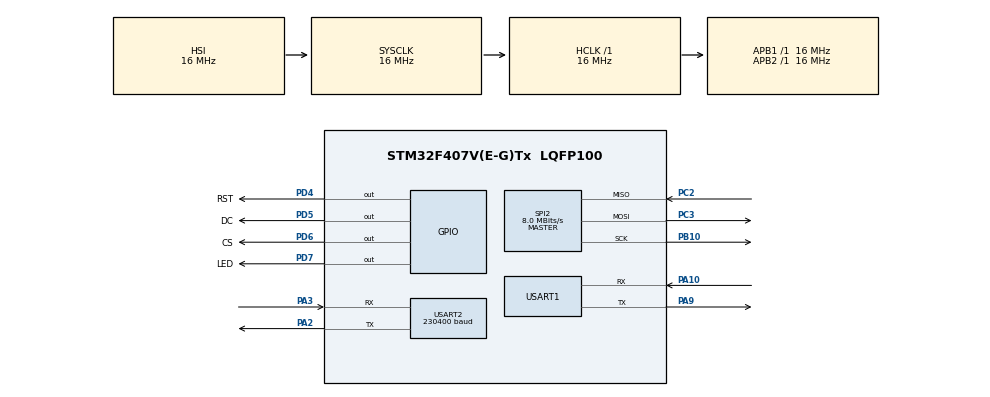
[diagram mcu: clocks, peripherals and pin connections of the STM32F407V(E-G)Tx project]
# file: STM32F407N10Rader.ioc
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Dma.Request0=USART2_RX
Dma.Request1=SPI2_TX
Dma.SPI2_TX.1.Direction=DMA_MEMORY_TO_PERIPH
Dma.SPI2_TX.1.FIFOMode=DMA_FIFOMODE_DISABLE
Dma.SPI2_TX.1.Instance=DMA1_Stream4
Dma.SPI2_TX.1.MemDataAlignment=DMA_MDATAALIGN_BYTE
Dma.SPI2_TX.1.MemInc=DMA_MINC_ENABLE
Dma.SPI2_TX.1.Mode=DMA_NORMAL
Dma.SPI2_TX.1.PeriphDataAlignment=DMA_PDATAALIGN_BYTE
Dma.SPI2_TX.1.PeriphInc=DMA_PINC_DISABLE
Dma.SPI2_TX.1.Priority=DMA_PRIORITY_LOW
Dma.USART2_RX.0.Direction=DMA_PERIPH_TO_MEMORY
Dma.USART2_RX.0.FIFOMode=DMA_FIFOMODE_DISABLE
Dma.USART2_RX.0.Instance=DMA1_Stream5
Dma.USART2_RX.0.MemDataAlignment=DMA_MDATAALIGN_BYTE
Dma.USART2_RX.0.MemInc=DMA_MINC_ENABLE
Dma.USART2_RX.0.Mode=DMA_CIRCULAR
Dma.USART2_RX.0.PeriphDataAlignment=DMA_PDATAALIGN_BYTE
Dma.USART2_RX.0.PeriphInc=DMA_PINC_DISABLE
Dma.USART2_RX.0.Priority=DMA_PRIORITY_LOW
Mcu.Family=STM32F4
Mcu.Name=STM32F407V(E-G)Tx
Mcu.Package=LQFP100
NVIC.DMA1_Stream4_IRQn=true\:0\:0\:false\:false\:true\:false\:true\:true
NVIC.DMA1_Stream5_IRQn=true\:0\:0\:false\:false\:true\:false\:true\:true
NVIC.PriorityGroup=NVIC_PRIORITYGROUP_4
NVIC.USART2_IRQn=true\:0\:0\:false\:false\:true\:true\:true\:true
PA0-WKUP.Mode=SYS_WakeUp0
PA0-WKUP.Signal=SYS_WKUP
PA10.Mode=Asynchronous
PA10.Signal=USART1_RX
PA13.Mode=Serial_Wire
PA13.Signal=SYS_JTMS-SWDIO
PA14.Mode=Serial_Wire
PA14.Signal=SYS_JTCK-SWCLK
PA2.Mode=Asynchronous
PA2.Signal=USART2_TX
PA3.Mode=Asynchronous
PA3.Signal=USART2_RX
PA9.Mode=Asynchronous
PA9.Signal=USART1_TX
PB10.Mode=Full_Duplex_Master
PB10.Signal=SPI2_SCK
PC14-OSC32_IN.Mode=LSE-External-Oscillator
PC14-OSC32_IN.Signal=RCC_OSC32_IN
PC15-OSC32_OUT.Mode=LSE-External-Oscillator
PC15-OSC32_OUT.Signal=RCC_OSC32_OUT
PC2.Mode=Full_Duplex_Master
PC2.Signal=SPI2_MISO
PC3.Mode=Full_Duplex_Master
PC3.Signal=SPI2_MOSI
PD4.GPIO_Label=RST
PD4.Signal=GPIO_Output
PD5.GPIO_Label=DC
PD5.Signal=GPIO_Output
PD6.GPIO_Label=CS
PD6.Signal=GPIO_Output
PD7.GPIO_Label=LED
PD7.Signal=GPIO_Output
PH0-OSC_IN.Mode=HSE-External-Oscillator
PH0-OSC_IN.Signal=RCC_OSC_IN
PH1-OSC_OUT.Mode=HSE-External-Oscillator
PH1-OSC_OUT.Signal=RCC_OSC_OUT
ProjectManager.HeapSize=0x200
ProjectManager.StackSize=0x400
ProjectManager.TargetToolchain=MDK-ARM V5.32
RCC.AHBFreq_Value=16000000
RCC.APB1Freq_Value=16000000
RCC.APB2Freq_Value=16000000
RCC.CortexFreq_Value=16000000
RCC.HSE_VALUE=25000000
RCC.HSI_VALUE=16000000
RCC.SYSCLKFreq_VALUE=16000000
RCC.VCOOutputFreq_Value=192000000
SPI2.CalculateBaudRate=8.0 MBits/s
SPI2.Direction=SPI_DIRECTION_2LINES
SPI2.Mode=SPI_MODE_MASTER
SPI2.VirtualType=VM_MASTER
USART1.VirtualMode=VM_ASYNC
USART2.BaudRate=230400
USART2.VirtualMode=VM_ASYNC
board=custom

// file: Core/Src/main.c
/* USER CODE BEGIN Header */
/**
  ******************************************************************************
  * @file           : main.c
  * @brief          : Main program body
  ******************************************************************************
  * @attention
  *
  * Copyright (c) 2026 STMicroelectronics.
  * All rights reserved.
  *
  * This software is licensed under terms that can be found in the LICENSE file
  * in the root directory of this software component.
  * If no LICENSE file comes with this software, it is provided AS-IS.
  *
  ******************************************************************************
  */
/* USER CODE END Header */
#include "main.h"
#include "dma.h"
#include "spi.h"
#include "usart.h"
#include "gpio.h"

/* USER CODE BEGIN Includes */
#include "N10Rader.h"
#include "gui_utils.h"
#include "ili9341.h"
#include "retarget.h"
#include "radar_display.h"
#include "stdio.h"
#include "string.h"
#include "stdlib.h"
/* USER CODE END Includes */

/* USER CODE BEGIN PTD */
N10_Parser_t n10_parser;
N10_Frame_t frame;

RadarDisplay_t radar;
/* USER CODE END PTD */

/* USER CODE BEGIN PD */
#define DMA_RX_BUFFER_SIZE  256
/* USER CODE END PD */

/* USER CODE BEGIN PV */
uint8_t dma_rx_buffer[DMA_RX_BUFFER_SIZE];
volatile uint16_t dma_rx_len = 0;
volatile uint8_t dma_rx_flag = 0;
/* USER CODE END PV */

void SystemClock_Config(void);

int main(void)
{

  /* MCU Configuration--------------------------------------------------------*/

  /* Reset of all peripherals, Initializes the Flash interface and the Systick. */
  HAL_Init();

  /* Configure the system clock */
  SystemClock_Config();

  /* Initialize all configured peripherals */
  MX_GPIO_Init();
  MX_DMA_Init();
  MX_USART1_UART_Init();
  MX_USART2_UART_Init();
  MX_SPI2_Init();
  /* USER CODE BEGIN 2 */
    LCD_Init();
    LCD_SetDirection(1);

    // 初始化雷达显示
    Radar_Init(&radar);
    Radar_DrawBackground(&radar);

    // 初始化N10解析器
    N10_Parser_Init(&n10_parser);

    // 启用UART空闲中断 + DMA接收
    __HAL_UART_ENABLE_IT(&huart2, UART_IT_IDLE);
    HAL_UART_Receive_DMA(&huart2, dma_rx_buffer, DMA_RX_BUFFER_SIZE);
  /* USER CODE END 2 */

  /* Infinite loop */
  while (1)
  {

    /* USER CODE BEGIN 3 */
    // 处理DMA接收的数据
    if (dma_rx_flag) {
        dma_rx_flag = 0;
        N10_Parser_ProcessDMA(&n10_parser, dma_rx_buffer, dma_rx_len);
    }

    // 处理解析后的帧
    while (N10_Parser_GetFrame(&n10_parser, &frame)) {
        // 更新雷达数据
        for (int i = 0; i < N10_POINTS_PER_FRAME; i++) {
            uint16_t angle = frame.points[i].angle / 100;  // 角度*100 -> 度
            Radar_UpdatePoint(&radar, angle, frame.points[i].distance);
        }

        // 每累积一圈后绘制 (约30帧=360度)
        static uint8_t frame_count = 0;
        if (++frame_count >= 30) {
            frame_count = 0;
            Radar_Draw(&radar);
            Radar_ClearData(&radar);
        }
    }
  }
  /* USER CODE END 3 */
}

void SystemClock_Config(void)
{
  RCC_OscInitTypeDef RCC_OscInitStruct = {0};
  RCC_ClkInitTypeDef RCC_ClkInitStruct = {0};

  /** Configure the main internal regulator output voltage
  */
  __HAL_RCC_PWR_CLK_ENABLE();
  __HAL_PWR_VOLTAGESCALING_CONFIG(PWR_REGULATOR_VOLTAGE_SCALE1);

  /** Initializes the RCC Oscillators according to the specified parameters
  * in the RCC_OscInitTypeDef structure.
  */
  RCC_OscInitStruct.OscillatorType = RCC_OSCILLATORTYPE_HSI;
  RCC_OscInitStruct.HSIState = RCC_HSI_ON;
  RCC_OscInitStruct.HSICalibrationValue = RCC_HSICALIBRATION_DEFAULT;
  RCC_OscInitStruct.PLL.PLLState = RCC_PLL_NONE;
  if (HAL_RCC_OscConfig(&RCC_OscInitStruct) != HAL_OK)
  {
    Error_Handler();
  }

  /** Initializes the CPU, AHB and APB buses clocks
  */
  RCC_ClkInitStruct.ClockType = RCC_CLOCKTYPE_HCLK|RCC_CLOCKTYPE_SYSCLK
                              |RCC_CLOCKTYPE_PCLK1|RCC_CLOCKTYPE_PCLK2;
  RCC_ClkInitStruct.SYSCLKSource = RCC_SYSCLKSOURCE_HSI;
  RCC_ClkInitStruct.AHBCLKDivider = RCC_SYSCLK_DIV1;
  RCC_ClkInitStruct.APB1CLKDivider = RCC_HCLK_DIV1;
  RCC_ClkInitStruct.APB2CLKDivider = RCC_HCLK_DIV1;

  if (HAL_RCC_ClockConfig(&RCC_ClkInitStruct, FLASH_LATENCY_0) != HAL_OK)
  {
    Error_Handler();
  }
}

void Error_Handler(void)
{
  __disable_irq();
  while (1)
  {
  }
}
